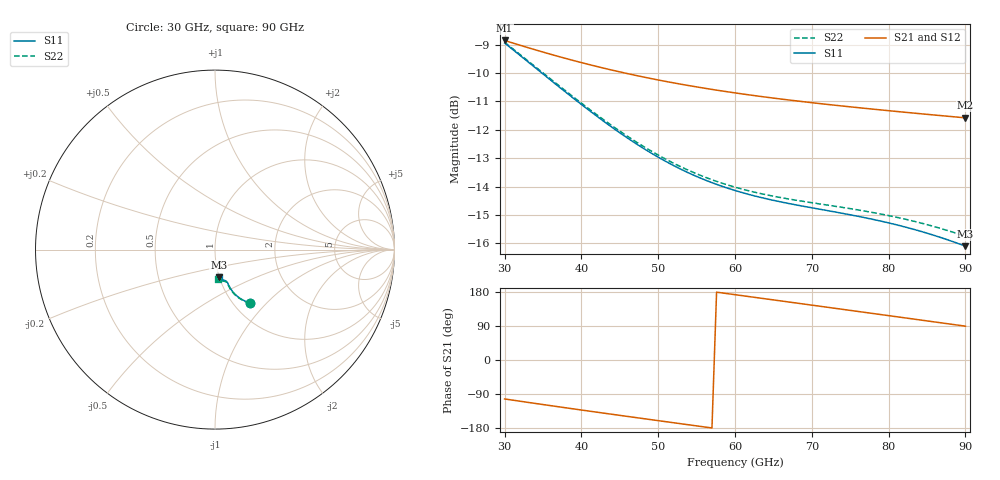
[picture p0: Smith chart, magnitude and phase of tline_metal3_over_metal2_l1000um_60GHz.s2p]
#  GHZ S DB R 50
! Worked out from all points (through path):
!   101 points, 30 GHz to 90 GHz, reference 50 ohm
!   highest |S21| = -8.86 dB at 30 GHz (marker M1); lowest = -11.6 dB at 90 GHz (marker M2)
!   group delay of S21, straight-line fit = 7.73 ps
!   lowest |S11| = -16.1 dB at 90 GHz (marker M3), VSWR 1.37, Z = 49.7 - j15.8 ohm
!   |S11| at or under -10 dB: 34.83 GHz to end of sweep
!   |S22| runs from -15.8 to -8.9 dB; largest |S21 - S12| = 3.2e-13
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30  -8.95 -56.6  -8.86 -102.7  -8.86 -102.7  -8.92 -56.8
33  -9.60 -59.8  -9.11 -111.7  -9.11 -111.7  -9.57 -60.1
35.4  -10.12 -62.1  -9.30 -118.7  -9.30 -118.7  -10.09 -62.4
37.8  -10.64 -63.9  -9.48 -125.7  -9.48 -125.7  -10.60 -64.3
40.2  -11.15 -65.5  -9.65 -132.5  -9.65 -132.5  -11.11 -65.8
42.6  -11.64 -66.7  -9.81 -139.3  -9.81 -139.3  -11.59 -67.1
45  -12.11 -67.6  -9.96 -146.1  -9.96 -146.1  -12.05 -68.0
47.4  -12.54 -68.2  -10.11 -152.8  -10.11 -152.8  -12.47 -68.7
50.4  -13.03 -68.7  -10.27 -161.1  -10.27 -161.1  -12.95 -69.2
52.8  -13.37 -68.9  -10.39 -167.8  -10.39 -167.8  -13.28 -69.5
55.2  -13.67 -69.1  -10.50 -174.4  -10.50 -174.4  -13.57 -69.6
57.6  -13.92 -69.2  -10.61 179.0  -10.61 179.0  -13.82 -69.8
60  -14.14 -69.4  -10.70 172.4  -10.70 172.4  -14.02 -70.0
64.8  -14.47 -70.0  -10.88 159.1  -10.88 159.1  -14.33 -70.8
67.2  -14.61 -70.6  -10.96 152.5  -10.96 152.5  -14.45 -71.4
70.2  -14.76 -71.5  -11.05 144.2  -11.05 144.2  -14.58 -72.4
73.2  -14.90 -72.7  -11.14 135.9  -11.14 135.9  -14.70 -73.7
75.6  -15.03 -73.8  -11.21 129.3  -11.21 129.3  -14.80 -75.0
80.4  -15.31 -76.4  -11.34 116.0  -11.34 116.0  -15.04 -77.8
85.2  -15.66 -79.3  -11.46 102.6  -11.46 102.6  -15.35 -81.0
87.6  -15.87 -80.7  -11.52 96.0  -11.52 96.0  -15.54 -82.6
90  -16.10 -82.1  -11.58 89.3  -11.58 89.3  -15.75 -84.3
